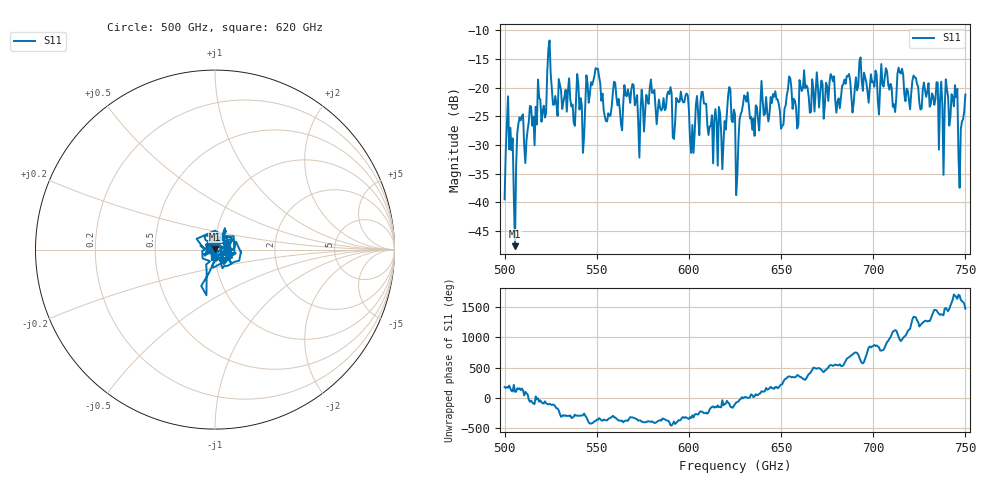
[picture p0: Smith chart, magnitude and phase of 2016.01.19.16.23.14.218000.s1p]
!Created with skrf (http://scikit-rf.org).
# GHz S RI R 50.0
!freq ReS11 ImS11
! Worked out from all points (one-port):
!   401 points, 500 GHz to 750 GHz, reference 50 ohm
!   lowest |S11| = -47.7 dB at 505.6 GHz (marker M1), VSWR 1.01, Z = 49.9 + j0.407 ohm
!   |S11| at or under -10 dB: start of sweep to end of sweep
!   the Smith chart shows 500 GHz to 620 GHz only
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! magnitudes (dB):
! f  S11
! 500 GHz  -39.5
! 502.5 GHz  -30.8
! 505.6 GHz  -47.7
! 508.1 GHz  -25.2
! 521.2 GHz  -23.1
! 524.4 GHz  -11.7
! 527.5 GHz  -21.5
! 531.2 GHz  -23.7
! 541.9 GHz  -23.0
! 550 GHz  -16.8
! 555 GHz  -25.8
! 562.5 GHz  -23.8
! 593.8 GHz  -22.1
! 598.8 GHz  -21.0
! 601.9 GHz  -26.5
! 608.1 GHz  -22.8
! 618.8 GHz  -29.7
! 621.9 GHz  -19.9
! 625 GHz  -24.6
! 630.6 GHz  -21.6
! 634.4 GHz  -27.4
! 656.2 GHz  -23.7
! 687.5 GHz  -18.8
! 718.8 GHz  -20.5
! 736.9 GHz  -19.0
! 744.4 GHz  -19.6
! 747.5 GHz  -27.3
! 750 GHz  -21.2
